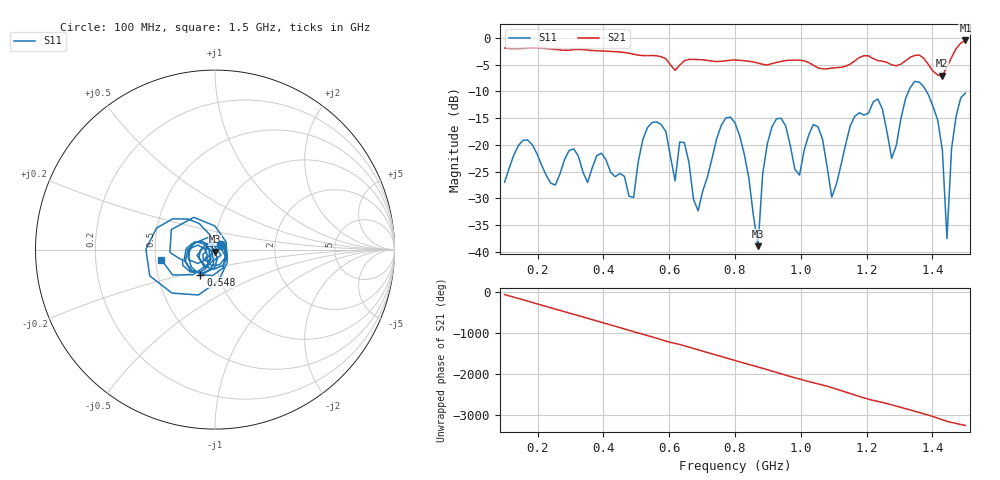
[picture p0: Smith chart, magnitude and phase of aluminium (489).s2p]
! NanoVNA-App
! Date: 2025-09-25 14:59:05
! Start: 100MHz Stop: 1,5GHz Points: 101
! S-Parameter data: F S11 S21 S12 S22
# Hz S RI R 50
!  Frequency  S11_Real  S11_Imag  S21_Real  S21_Imag  S12_Real  S12_Imag  S22_Real  S22_Imag
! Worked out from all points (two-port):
!   101 points, 100 MHz to 1.5 GHz, reference 50 ohm
!   highest |S21| = -0.50 dB at 1.5 GHz (marker M1); lowest = -7.1 dB at 1.43 GHz (marker M2)
!   |S21| within 3 dB of the highest: start of sweep to 572.5 MHz; 1.459 GHz to end of sweep (the widest 2 of 4)
!   lowest |S11| = -38.9 dB at 870 MHz (marker M3), VSWR 1.02, Z = 50.2 - j1.12 ohm
!   |S11| at or under -10 dB: start of sweep to 1.328 GHz; 1.382 GHz to end of sweep
!   S12 and S22 are empty: the file has one direction only
!   S11 on the Smith chart (normalised r, x): 100 MHz: 1.07, +0.06; 548 MHz: 0.82, -0.23; 1.5 GHz: 0.54, -0.07
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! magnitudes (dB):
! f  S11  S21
! 100 MHz  -27.0  -1.9
! 156 MHz  -19.1  -2.0
! 338 MHz  -25.1  -2.2
! 492 MHz  -29.8  -3.1
! 548 MHz  -15.8  -3.3
! 576 MHz  -16.2  -3.5
! 618 MHz  -26.7  -6.1
! 646 MHz  -19.6  -4.3
! 688 MHz  -32.3  -4.1
! 800 MHz  -15.9  -4.1
! 870 MHz  -38.9  -4.7
! 912 MHz  -16.7  -4.8
! 996 MHz  -25.6  -4.2
! 1.038 GHz  -16.2  -5.1
! 1.094 GHz  -29.8  -5.6
! 1.22 GHz  -12.0  -3.9
! 1.276 GHz  -22.5  -5.1
! 1.346 GHz  -8.1  -3.3
! 1.43 GHz  -21.0  -7.1
! 1.444 GHz  -37.5  -5.4
! 1.458 GHz  -20.7  -3.7
! 1.5 GHz  -10.3  -0.5
